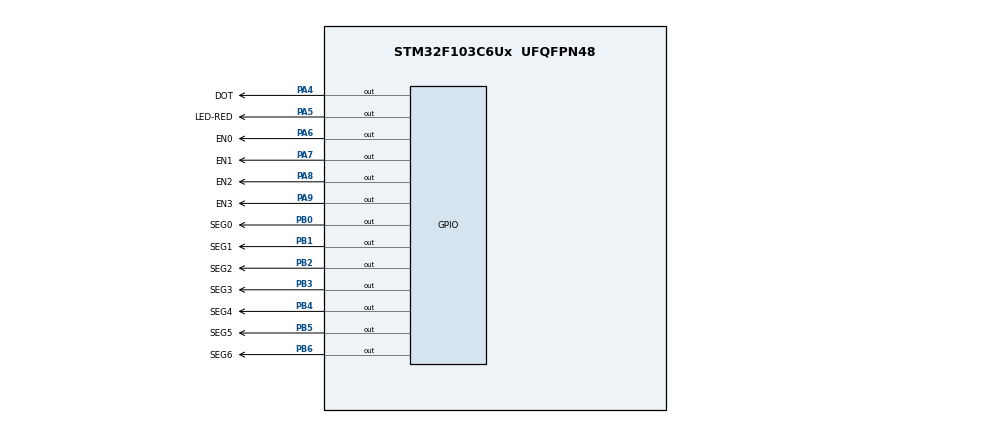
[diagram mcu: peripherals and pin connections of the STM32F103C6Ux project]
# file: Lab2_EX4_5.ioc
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Mcu.Family=STM32F1
Mcu.Name=STM32F103C6Ux
Mcu.Package=UFQFPN48
NVIC.PriorityGroup=NVIC_PRIORITYGROUP_4
NVIC.TIM2_IRQn=true\:0\:0\:false\:false\:true\:true\:true
PA4.GPIO_Label=DOT
PA4.Signal=GPIO_Output
PA5.GPIO_Label=LED-RED
PA5.Signal=GPIO_Output
PA6.GPIO_Label=EN0
PA6.Signal=GPIO_Output
PA7.GPIO_Label=EN1
PA7.Signal=GPIO_Output
PA8.GPIO_Label=EN2
PA8.Signal=GPIO_Output
PA9.GPIO_Label=EN3
PA9.Signal=GPIO_Output
PB0.GPIO_Label=SEG0
PB0.Signal=GPIO_Output
PB1.GPIO_Label=SEG1
PB1.Signal=GPIO_Output
PB2.GPIO_Label=SEG2
PB2.Signal=GPIO_Output
PB3.GPIO_Label=SEG3
PB3.Signal=GPIO_Output
PB4.GPIO_Label=SEG4
PB4.Signal=GPIO_Output
PB5.GPIO_Label=SEG5
PB5.Signal=GPIO_Output
PB6.GPIO_Label=SEG6
PB6.Signal=GPIO_Output
ProjectManager.HeapSize=0x200
ProjectManager.StackSize=0x400
ProjectManager.TargetToolchain=STM32CubeIDE
RCC.APB1Freq_Value=8000000
RCC.APB2Freq_Value=8000000
TIM2.Period=9
TIM2.Prescaler=7999
VP_SYS_VS_ND.Mode=No_Debug
VP_TIM2_VS_ClockSourceINT.Mode=Internal
board=custom

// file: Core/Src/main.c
/* USER CODE BEGIN Header */
/**
 ******************************************************************************
 * @file           : main.c
 * @brief          : Main program body
 ******************************************************************************
 * @attention
 *
 * <h2><center>&copy; Copyright (c) 2025 STMicroelectronics.
 * All rights reserved.</center></h2>
 *
 * This software component is licensed by ST under BSD 3-Clause license,
 * the "License"; You may not use this file except in compliance with the
 * License. You may obtain a copy of the License at:
 *                        opensource.org/licenses/BSD-3-Clause
 *
 ******************************************************************************
 */
/* USER CODE END Header */
#include "main.h"

TIM_HandleTypeDef htim2;

void SystemClock_Config(void);
static void MX_GPIO_Init(void);
static void MX_TIM2_Init(void);

/* USER CODE BEGIN 0 */
static const uint8_t segCode[10] = { 0b1000000, // 0
		0b1111001, // 1
		0b0100100, // 2
		0b0110000, // 3
		0b0011001, // 4
		0b0010010, // 5
		0b0000010, // 6
		0b1111000, // 7
		0b0000000, // 8
		0b0010000  // 9
		};

void display7SEG(int num) {
	if (num < 0 || num > 9)
		num = 0;

	for (int i = 0; i < 7; i++) {
		HAL_GPIO_WritePin(GPIOB, (1 << i),
				(segCode[num] & (1 << i)) ? GPIO_PIN_SET : GPIO_PIN_RESET);
	}
}
/* USER CODE END 0 */

int main(void) {

	/* MCU Configuration--------------------------------------------------------*/

	/* Reset of all peripherals, Initializes the Flash interface and the Systick. */
	HAL_Init();

	/* Configure the system clock */
	SystemClock_Config();

	/* Initialize all configured peripherals */
	MX_GPIO_Init();
	MX_TIM2_Init();
	/* USER CODE BEGIN 2 */
	HAL_TIM_Base_Start_IT(&htim2);

	/* USER CODE END 2 */

	/* Infinite loop */
	/* USER CODE BEGIN WHILE */
	int hour = 15, minute = 8, second = 50;

	while (1) {
		/* USER CODE END WHILE */
	      second++;
	      if (second >= 60){
	          second = 0;
	          minute++;
	      }
	      if(minute >= 60){
	          minute = 0;
	          hour++;
	      }
	      if(hour >=24){
	          hour = 0;
	      }
	      updateClockBuffer(hour, minute);
	      HAL_Delay(1000);

	}
}

void SystemClock_Config(void) {
	RCC_OscInitTypeDef RCC_OscInitStruct = { 0 };
	RCC_ClkInitTypeDef RCC_ClkInitStruct = { 0 };

	/** Initializes the RCC Oscillators according to the specified parameters
	 * in the RCC_OscInitTypeDef structure.
	 */
	RCC_OscInitStruct.OscillatorType = RCC_OSCILLATORTYPE_HSI;
	RCC_OscInitStruct.HSIState = RCC_HSI_ON;
	RCC_OscInitStruct.HSICalibrationValue = RCC_HSICALIBRATION_DEFAULT;
	RCC_OscInitStruct.PLL.PLLState = RCC_PLL_NONE;
	if (HAL_RCC_OscConfig(&RCC_OscInitStruct) != HAL_OK) {
		Error_Handler();
	}
	/** Initializes the CPU, AHB and APB buses clocks
	 */
	RCC_ClkInitStruct.ClockType = RCC_CLOCKTYPE_HCLK | RCC_CLOCKTYPE_SYSCLK
			| RCC_CLOCKTYPE_PCLK1 | RCC_CLOCKTYPE_PCLK2;
	RCC_ClkInitStruct.SYSCLKSource = RCC_SYSCLKSOURCE_HSI;
	RCC_ClkInitStruct.AHBCLKDivider = RCC_SYSCLK_DIV1;
	RCC_ClkInitStruct.APB1CLKDivider = RCC_HCLK_DIV1;
	RCC_ClkInitStruct.APB2CLKDivider = RCC_HCLK_DIV1;

	if (HAL_RCC_ClockConfig(&RCC_ClkInitStruct, FLASH_LATENCY_0) != HAL_OK) {
		Error_Handler();
	}
}

static void MX_TIM2_Init(void) {

	TIM_ClockConfigTypeDef sClockSourceConfig = { 0 };
	TIM_MasterConfigTypeDef sMasterConfig = { 0 };

	htim2.Instance = TIM2;
	htim2.Init.Prescaler = 7999;
	htim2.Init.CounterMode = TIM_COUNTERMODE_UP;
	htim2.Init.Period = 9;
	htim2.Init.ClockDivision = TIM_CLOCKDIVISION_DIV1;
	htim2.Init.AutoReloadPreload = TIM_AUTORELOAD_PRELOAD_DISABLE;
	if (HAL_TIM_Base_Init(&htim2) != HAL_OK) {
		Error_Handler();
	}
	sClockSourceConfig.ClockSource = TIM_CLOCKSOURCE_INTERNAL;
	if (HAL_TIM_ConfigClockSource(&htim2, &sClockSourceConfig) != HAL_OK) {
		Error_Handler();
	}
	sMasterConfig.MasterOutputTrigger = TIM_TRGO_RESET;
	sMasterConfig.MasterSlaveMode = TIM_MASTERSLAVEMODE_DISABLE;
	if (HAL_TIMEx_MasterConfigSynchronization(&htim2, &sMasterConfig)
			!= HAL_OK) {
		Error_Handler();
	}

}

static void MX_GPIO_Init(void) {
	GPIO_InitTypeDef GPIO_InitStruct = { 0 };

	/* GPIO Ports Clock Enable */
	__HAL_RCC_GPIOA_CLK_ENABLE();
	__HAL_RCC_GPIOB_CLK_ENABLE();

	/*Configure GPIO pin Output Level */
	HAL_GPIO_WritePin(GPIOA,
			DOT_Pin | LED_RED_Pin | EN0_Pin | EN1_Pin | EN2_Pin | EN3_Pin,
			GPIO_PIN_RESET);

	/*Configure GPIO pin Output Level */
	HAL_GPIO_WritePin(GPIOB,
			SEG0_Pin | SEG1_Pin | SEG2_Pin | SEG3_Pin | SEG4_Pin | SEG5_Pin
					| SEG6_Pin, GPIO_PIN_RESET);

	/*Configure GPIO pins : DOT_Pin LED_RED_Pin EN0_Pin EN1_Pin
	 EN2_Pin EN3_Pin */
	GPIO_InitStruct.Pin = DOT_Pin | LED_RED_Pin | EN0_Pin | EN1_Pin | EN2_Pin
			| EN3_Pin;
	GPIO_InitStruct.Mode = GPIO_MODE_OUTPUT_PP;
	GPIO_InitStruct.Pull = GPIO_NOPULL;
	GPIO_InitStruct.Speed = GPIO_SPEED_FREQ_LOW;
	HAL_GPIO_Init(GPIOA, &GPIO_InitStruct);

	/*Configure GPIO pins : SEG0_Pin SEG1_Pin SEG2_Pin SEG3_Pin
	 SEG4_Pin SEG5_Pin SEG6_Pin */
	GPIO_InitStruct.Pin = SEG0_Pin | SEG1_Pin | SEG2_Pin | SEG3_Pin | SEG4_Pin
			| SEG5_Pin | SEG6_Pin;
	GPIO_InitStruct.Mode = GPIO_MODE_OUTPUT_PP;
	GPIO_InitStruct.Pull = GPIO_NOPULL;
	GPIO_InitStruct.Speed = GPIO_SPEED_FREQ_LOW;
	HAL_GPIO_Init(GPIOB, &GPIO_InitStruct);

}

/* USER CODE BEGIN 4 */
const int MAX_LED = 4;
int index_led = 0;
int led_buffer[4] = { 1, 2, 3, 4 };

void update7SEG(int index) {
//---------Testing random input-----------------
//	led_buffer[index]=rand()%10;
//----------------------------------------------
	switch (index) {
	case 0:
		HAL_GPIO_WritePin(GPIOA, EN1_Pin | EN2_Pin | EN3_Pin, GPIO_PIN_SET);
		HAL_GPIO_WritePin(GPIOA, EN0_Pin, GPIO_PIN_RESET);
		display7SEG(led_buffer[0]);
		break;
	case 1:
		HAL_GPIO_WritePin(GPIOA, EN0_Pin | EN2_Pin | EN3_Pin, GPIO_PIN_SET);
		HAL_GPIO_WritePin(GPIOA, EN1_Pin, GPIO_PIN_RESET);
		display7SEG(led_buffer[1]);
		break;
	case 2:
		HAL_GPIO_WritePin(GPIOA, EN0_Pin | EN1_Pin | EN3_Pin, GPIO_PIN_SET);
		HAL_GPIO_WritePin(GPIOA, EN2_Pin, GPIO_PIN_RESET);
		display7SEG(led_buffer[2]);
		break;
	case 3:
		HAL_GPIO_WritePin(GPIOA, EN0_Pin | EN1_Pin | EN2_Pin, GPIO_PIN_SET);
		HAL_GPIO_WritePin(GPIOA, EN3_Pin, GPIO_PIN_RESET);
		display7SEG(led_buffer[3]);
		break;
	default:
		break;
	}
}

int counter = 0;
void HAL_TIM_PeriodElapsedCallback(TIM_HandleTypeDef *htim) {
	counter++;

	// Blink DOT + RED LED every 1000 ms (1s)
	if (counter % 100 == 0) {
		HAL_GPIO_TogglePin(GPIOA, DOT_Pin);
		HAL_GPIO_TogglePin(GPIOA, LED_RED_Pin);
	}

	// Switch 7SEG every 250 ms
	if (counter % 25 == 0) {
		update7SEG(index_led);
		index_led++;
		if (index_led >= MAX_LED) {
			index_led = 0;
		}
	}

	if (counter >= 100)
		counter = 0; // reset every sec

}
void updateClockBuffer (int hour, int minute){
	led_buffer[0]= hour/10;
	led_buffer[1]= hour%10;
	led_buffer[2]= minute/10;
	led_buffer[3]= minute%10;
}

/* USER CODE END 4 */

void Error_Handler(void) {
	__disable_irq();
	while (1) {
	}
}

/************************ (C) COPYRIGHT STMicroelectronics *****END OF FILE****/
